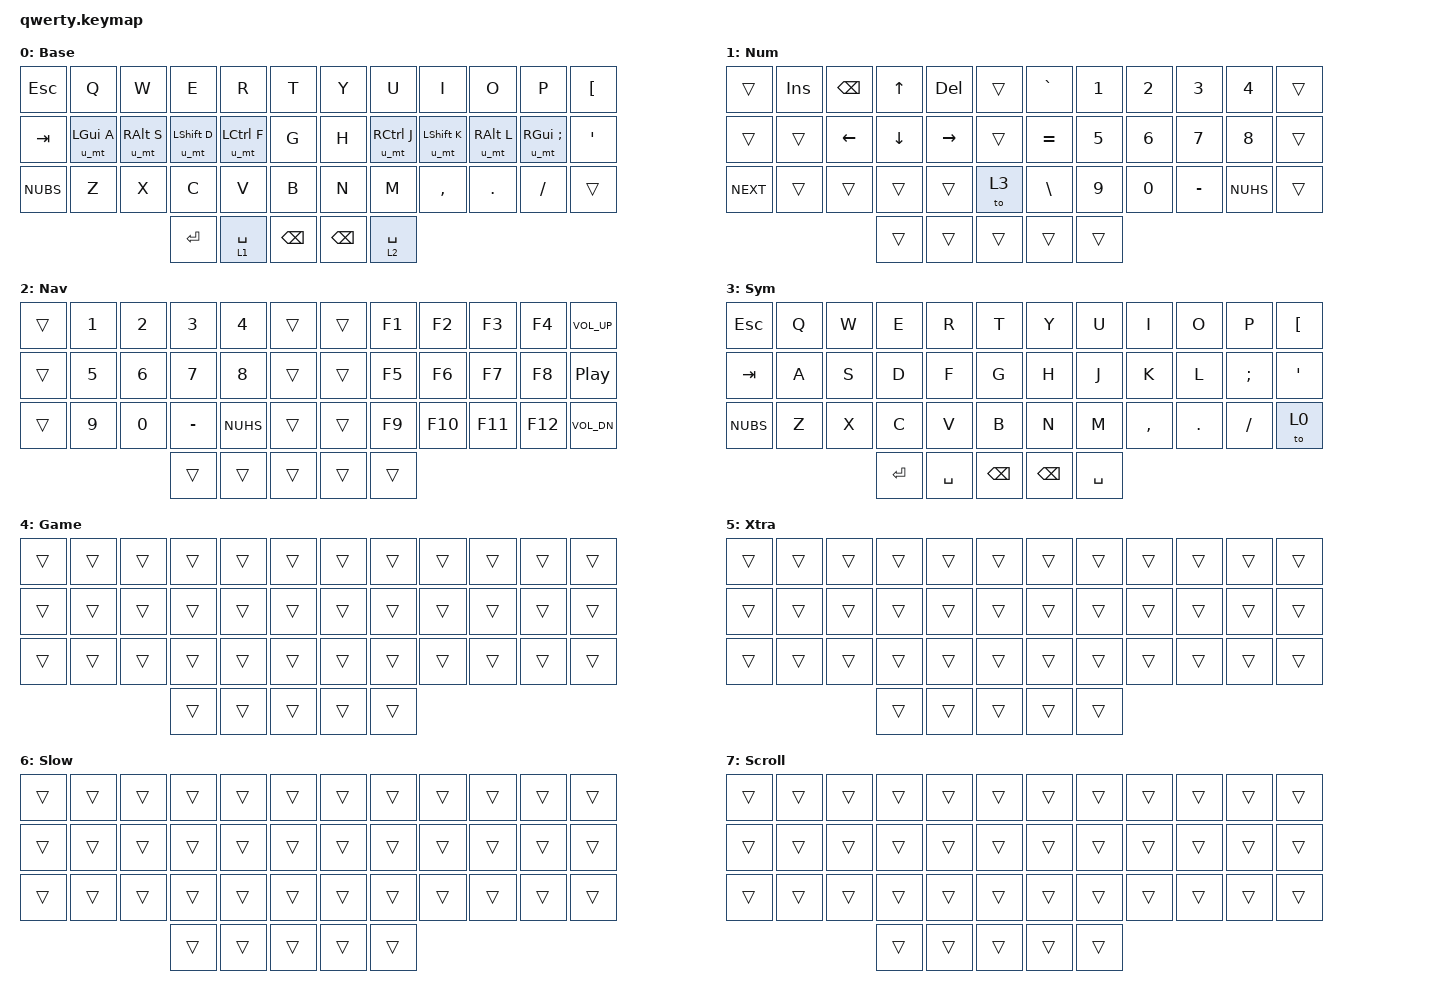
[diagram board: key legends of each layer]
/* upstream bindings and behaviors */
#include <behaviors.dtsi>
#include <dt-bindings/zmk/bt.h>
#include <dt-bindings/zmk/keys.h>
#include <dt-bindings/zmk/mouse.h>
#include <dt-bindings/zmk/outputs.h>
#include <behaviors/mouse_keys.dtsi>
#include <dt-bindings/zmk/ext_power.h>

/* local overlays */
#include "keymap_features/macros.dtsi"
#include "keymap_features/behaviors.dtsi"
#include "keymap_features/combos.dtsi"

/ {
/* --- KEYMAP CONFIG --- */
// ╭──────┬──────┬──────┬──────┬──────┬──────╮  ╭──────┬──────┬──────┬──────┬──────┬──────╮
//    00     01     02     03    04      05        06     07     08     09     10     11
// ├──────┼──────┼──────┼──────┼──────┼──────┤  ├──────┼──────┼──────┼──────┼──────┼──────┤
//    12     13     14     15    16      17        18     19     20     21     22     23
// ├──────┼──────┼──────┼──────┼──────┼──────┤  ├──────┼──────┼──────┼──────┼──────┼──────┤
//    24     25     26     27    28      29        30     31     32     33     34     35
// ╰──────┴──────┴──────┼──────┼──────┼──────┤  ├──────┼──────┼──────┴──────┴──────┴──────╯
//                         36     37     38        39     40
//                      ╰──────┴──────┴──────╯  ╰──────┴──────╯
// #define BASE    0
// #define NUM     1
// #define NAV     2
// #define SYM     3
// #define GAME    4
// #define EXTRAS  5
// #define SLOW    6
// #define SCROLL  7

    keymap {
        compatible = "zmk,keymap";
        BASE {
            display-name = "Base";
            bindings = <
&kp ESC   &kp Q             &kp W              &kp E               &kp R          &kp T       &kp Y     &kp U          &kp I               &kp O              &kp P                 &kp LBKT
&kp TAB   &u_mt LEFT_GUI A  &u_mt RIGHT_ALT S  &u_mt LEFT_SHIFT D  &u_mt LCTRL F  &kp G       &kp H     &u_mt RCTRL J  &u_mt LEFT_SHIFT K  &u_mt RIGHT_ALT L  &u_mt RIGHT_GUI SEMI  &kp APOS
&kp NUBS  &kp Z             &kp X              &kp C               &kp V          &kp B       &kp N     &kp M          &kp COMMA           &kp DOT            &kp FSLH              &trans
                                               &kp ENTER           &lt 1 SPACE    &kp BSPC    &kp BSPC  &lt 2 SPACE
            >;
        };

        NUM {
            display-name = "Num";
            bindings = <
&trans      &kp INS  &kp BSPC  &kp UP    &kp DEL    &trans    &kp GRAVE  &kp N1  &kp N2  &kp N3     &kp N4    &trans
&trans      &trans   &kp LEFT  &kp DOWN  &kp RIGHT  &trans    &kp EQUAL  &kp N5  &kp N6  &kp N7     &kp N8    &trans
&kp C_NEXT  &trans   &trans    &trans    &trans     &to 3    &kp BSLH   &kp N9  &kp N0  &kp MINUS  &kp NUHS  &trans
                               &trans    &trans     &trans    &trans     &trans
            >;
        };

        NAV {
            display-name = "Nav";
            bindings = <
&trans  &kp N1  &kp N2  &kp N3     &kp N4    &trans    &trans  &kp F1  &kp F2   &kp F3   &kp F4   &kp C_VOL_UP
&trans  &kp N5  &kp N6  &kp N7     &kp N8    &trans    &trans  &kp F5  &kp F6   &kp F7   &kp F8   &kp C_PLAY_PAUSE
&trans  &kp N9  &kp N0  &kp MINUS  &kp NUHS  &trans    &trans  &kp F9  &kp F10  &kp F11  &kp F12  &kp C_VOL_DN
                        &trans     &trans    &trans    &trans  &trans
            >;
        };

        SYM {
            display-name = "Sym";
            bindings = <
&kp ESC   &kp Q  &kp W  &kp E      &kp R      &kp T       &kp Y     &kp U      &kp I      &kp O    &kp P     &kp LBKT
&kp TAB   &kp A  &kp S  &kp D      &kp F      &kp G       &kp H     &kp J      &kp K      &kp L    &kp SEMI  &kp APOS
&kp NUBS  &kp Z  &kp X  &kp C      &kp V      &kp B       &kp N     &kp M      &kp COMMA  &kp DOT  &kp FSLH  &to 0
                        &kp ENTER  &kp SPACE  &kp BSPC    &kp BSPC  &kp SPACE
            >;
        };

        GAME {
            display-name = "Game";
            bindings = <
&trans  &trans  &trans  &trans  &trans  &trans    &trans  &trans  &trans  &trans  &trans  &trans
&trans  &trans  &trans  &trans  &trans  &trans    &trans  &trans  &trans  &trans  &trans  &trans
&trans  &trans  &trans  &trans  &trans  &trans    &trans  &trans  &trans  &trans  &trans  &trans
                        &trans  &trans  &trans    &trans  &trans
            >;
        };

        EXTRAS {
            display-name = "Xtra";
            bindings = <
&trans  &trans  &trans  &trans  &trans  &trans    &trans  &trans  &trans  &trans  &trans  &trans
&trans  &trans  &trans  &trans  &trans  &trans    &trans  &trans  &trans  &trans  &trans  &trans
&trans  &trans  &trans  &trans  &trans  &trans    &trans  &trans  &trans  &trans  &trans  &trans
                        &trans  &trans  &trans    &trans  &trans
            >;
        };

        SLOW {
            display-name = "Slow";
            bindings = <
// ╭────────┬────────┬────────┬────────┬────────┬────────╮  ╭────────┬────────┬────────┬────────┬────────┬────────╮
    &trans    &trans   &trans   &trans   &trans   &trans      &trans   &trans   &trans   &trans   &trans   &trans
// ├────────┼────────┼────────┼────────┼────────┼────────┤  ├────────┼────────┼────────┼────────┼────────┼────────┤
    &trans    &trans   &trans   &trans   &trans   &trans      &trans   &trans   &trans   &trans   &trans   &trans
// ├────────┼────────┼────────┼────────┼────────┼────────┤  ├────────┼────────┼────────┼────────┼────────┼────────┤
    &trans    &trans   &trans   &trans   &trans   &trans      &trans   &trans   &trans   &trans   &trans   &trans
// ╰────────┴────────┴────────┼────────┼────────┼────────┤  ├────────┼────────┼────────┴────────┴────────┴────────╯
                                  &trans   &trans   &trans      &trans   &trans
                             // ╰────────┴────────┴────────╯  ╰────────┴────────╯
            >;
        };

        SCROLL {
            display-name = "Scroll";
            bindings = <
// ╭────────┬────────┬────────┬────────┬────────┬────────╮  ╭────────┬────────┬────────┬────────┬────────┬────────╮
    &trans    &trans   &trans   &trans   &trans   &trans      &trans   &trans   &trans   &trans   &trans   &trans
// ├────────┼────────┼────────┼────────┼────────┼────────┤  ├────────┼────────┼────────┼────────┼────────┼────────┤
    &trans    &trans   &trans   &trans   &trans   &trans      &trans   &trans   &trans   &trans   &trans   &trans
// ├────────┼────────┼────────┼────────┼────────┼────────┤  ├────────┼────────┼────────┼────────┼────────┼────────┤
    &trans    &trans   &trans   &trans   &trans   &trans      &trans   &trans   &trans   &trans   &trans   &trans
// ╰────────┴────────┴────────┼────────┼────────┼────────┤  ├────────┼────────┼────────┴────────┴────────┴────────╯
                                  &trans   &trans   &trans      &trans   &trans
                             // ╰────────┴────────┴────────╯  ╰────────┴────────╯
            >;
        };
    };
};
